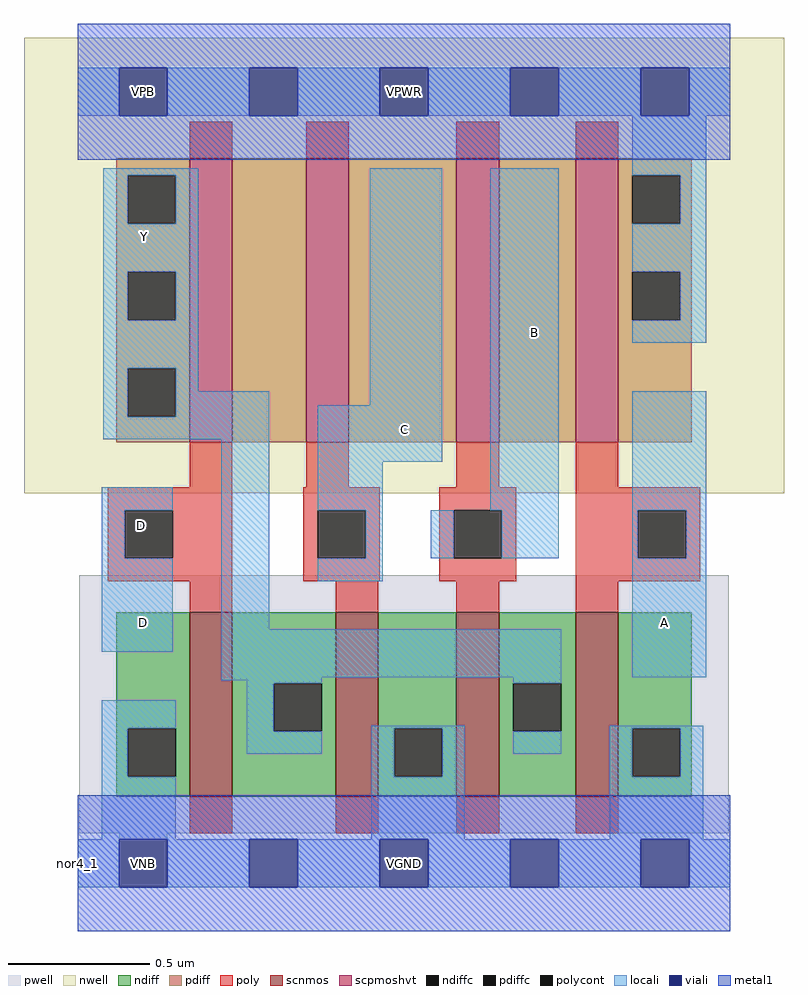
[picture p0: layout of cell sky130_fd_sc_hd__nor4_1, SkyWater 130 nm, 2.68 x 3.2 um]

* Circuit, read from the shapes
.subckt sky130_fd_sc_hd__nor4_1 A B C D VGND VNB VPB VPWR Y
XM1 Y D VGND VNB sky130_fd_pr__nfet_01v8 w=0.65 l=0.15
XM2 VGND C Y VNB sky130_fd_pr__nfet_01v8 w=0.65 l=0.15
XM3 Y B VGND VNB sky130_fd_pr__nfet_01v8 w=0.65 l=0.15
XM4 VGND A Y VNB sky130_fd_pr__nfet_01v8 w=0.65 l=0.15
XM5 n1 D Y VPB sky130_fd_pr__pfet_01v8_hvt w=1 l=0.15
XM6 n2 C n1 VPB sky130_fd_pr__pfet_01v8_hvt w=1 l=0.15
XM7 n3 B n2 VPB sky130_fd_pr__pfet_01v8_hvt w=1 l=0.15
XM8 VPWR A n3 VPB sky130_fd_pr__pfet_01v8_hvt w=1 l=0.15
.ends

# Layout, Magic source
magic
tech sky130A
magscale 1 2
<< nwell >>
rect -38 261 498 582
<< pwell >>
rect 1 21 459 203
rect 29 -17 63 21
<< scnmos >>
rect 79 47 109 177
rect 182 47 212 177
rect 267 47 297 177
rect 351 47 381 177
<< scpmoshvt >>
rect 79 297 109 497
rect 161 297 191 497
rect 267 297 297 497
rect 351 297 381 497
<< ndiff >>
rect 27 95 79 177
rect 27 61 35 95
rect 69 61 79 95
rect 27 47 79 61
rect 109 127 182 177
rect 109 93 138 127
rect 172 93 182 127
rect 109 47 182 93
rect 212 95 267 177
rect 212 61 223 95
rect 257 61 267 95
rect 212 47 267 61
rect 297 127 351 177
rect 297 93 307 127
rect 341 93 351 127
rect 297 47 351 93
rect 381 95 433 177
rect 381 61 391 95
rect 425 61 433 95
rect 381 47 433 61
<< pdiff >>
rect 27 485 79 497
rect 27 451 35 485
rect 69 451 79 485
rect 27 417 79 451
rect 27 383 35 417
rect 69 383 79 417
rect 27 349 79 383
rect 27 315 35 349
rect 69 315 79 349
rect 27 297 79 315
rect 109 297 161 497
rect 191 297 267 497
rect 297 297 351 497
rect 381 485 433 497
rect 381 451 391 485
rect 425 451 433 485
rect 381 417 433 451
rect 381 383 391 417
rect 425 383 433 417
rect 381 297 433 383
<< ndiffc >>
rect 35 61 69 95
rect 138 93 172 127
rect 223 61 257 95
rect 307 93 341 127
rect 391 61 425 95
<< pdiffc >>
rect 35 451 69 485
rect 35 383 69 417
rect 35 315 69 349
rect 391 451 425 485
rect 391 383 425 417
<< poly >>
rect 79 497 109 523
rect 161 497 191 523
rect 267 497 297 523
rect 351 497 381 523
rect 79 265 109 297
rect 161 265 191 297
rect 267 265 297 297
rect 351 265 381 297
rect 21 249 109 265
rect 21 215 33 249
rect 67 215 109 249
rect 21 199 109 215
rect 159 249 213 265
rect 159 215 169 249
rect 203 215 213 249
rect 159 199 213 215
rect 255 249 309 265
rect 255 215 265 249
rect 299 215 309 249
rect 255 199 309 215
rect 351 249 439 265
rect 351 215 395 249
rect 429 215 439 249
rect 351 199 439 215
rect 79 177 109 199
rect 182 177 212 199
rect 267 177 297 199
rect 351 177 381 199
rect 79 21 109 47
rect 182 21 212 47
rect 267 21 297 47
rect 351 21 381 47
<< polycont >>
rect 33 215 67 249
rect 169 215 203 249
rect 265 215 299 249
rect 395 215 429 249
<< locali >>
rect 0 527 29 561
rect 63 527 121 561
rect 155 527 213 561
rect 247 527 305 561
rect 339 527 397 561
rect 431 527 460 561
rect 18 485 85 490
rect 18 451 35 485
rect 69 451 85 485
rect 18 417 85 451
rect 18 383 35 417
rect 69 383 85 417
rect 18 349 85 383
rect 18 315 35 349
rect 69 333 85 349
rect 69 315 135 333
rect 206 323 257 490
rect 18 299 135 315
rect 17 249 67 265
rect 17 215 33 249
rect 17 149 67 215
rect 101 165 135 299
rect 169 283 257 323
rect 169 249 215 283
rect 291 249 339 490
rect 391 485 443 527
rect 425 451 443 485
rect 391 417 443 451
rect 425 383 443 417
rect 391 367 443 383
rect 203 215 215 249
rect 249 215 265 249
rect 299 215 339 249
rect 391 249 443 333
rect 391 215 395 249
rect 429 215 443 249
rect 169 199 215 215
rect 101 131 341 165
rect 391 131 443 215
rect 101 129 172 131
rect 119 127 172 129
rect 17 95 69 115
rect 17 61 35 95
rect 119 93 138 127
rect 307 127 341 131
rect 119 77 172 93
rect 207 95 273 97
rect 17 17 69 61
rect 207 61 223 95
rect 257 61 273 95
rect 307 77 341 93
rect 375 95 441 97
rect 207 17 273 61
rect 375 61 391 95
rect 425 61 441 95
rect 375 17 441 61
rect 0 -17 29 17
rect 63 -17 121 17
rect 155 -17 213 17
rect 247 -17 305 17
rect 339 -17 397 17
rect 431 -17 460 17
<< viali >>
rect 29 527 63 561
rect 121 527 155 561
rect 213 527 247 561
rect 305 527 339 561
rect 397 527 431 561
rect 29 -17 63 17
rect 121 -17 155 17
rect 213 -17 247 17
rect 305 -17 339 17
rect 397 -17 431 17
<< metal1 >>
rect 0 561 460 592
rect 0 527 29 561
rect 63 527 121 561
rect 155 527 213 561
rect 247 527 305 561
rect 339 527 397 561
rect 431 527 460 561
rect 0 496 460 527
rect 0 17 460 48
rect 0 -17 29 17
rect 63 -17 121 17
rect 155 -17 213 17
rect 247 -17 305 17
rect 339 -17 397 17
rect 431 -17 460 17
rect 0 -48 460 -17
<< labels >>
flabel locali s 29 153 63 187 0 FreeSans 400 0 0 0 D
port 4 nsew signal input
flabel locali s 213 289 247 323 0 FreeSans 400 0 0 0 C
port 3 nsew signal input
flabel locali s 28 221 62 255 0 FreeSans 400 0 0 0 D
port 4 nsew signal input
flabel locali s 30 425 64 459 0 FreeSans 200 0 0 0 Y
port 9 nsew signal output
flabel locali s 397 153 431 187 0 FreeSans 400 0 0 0 A
port 1 nsew signal input
flabel locali s 305 357 339 391 0 FreeSans 400 0 0 0 B
port 2 nsew signal input
flabel nwell s 29 527 63 561 0 FreeSans 200 0 0 0 VPB
port 7 nsew power bidirectional
flabel pwell s 29 -17 63 17 0 FreeSans 200 0 0 0 VNB
port 6 nsew ground bidirectional
flabel metal1 s 29 -17 63 17 0 FreeSans 200 0 0 0 VGND
port 5 nsew ground bidirectional abutment
flabel metal1 s 29 527 63 561 0 FreeSans 200 0 0 0 VPWR
port 8 nsew power bidirectional abutment
rlabel comment s 0 0 0 0 4 nor4_1
rlabel metal1 s 0 -48 460 48 1 VGND
port 5 nsew ground bidirectional abutment
rlabel metal1 s 0 496 460 592 1 VPWR
port 8 nsew power bidirectional abutment
<< properties >>
string FIXED_BBOX 0 0 460 544
string GDS_END 1128092
string GDS_FILE $PDKPATH/libs.ref/sky130_fd_sc_hd/gds/sky130_fd_sc_hd.gds
string GDS_START 1123372
string LEFclass CORE
string LEFsite unithd
string LEFsymmetry X Y R90
string path 0.000 0.000 2.300 0.000 
<< end >>
